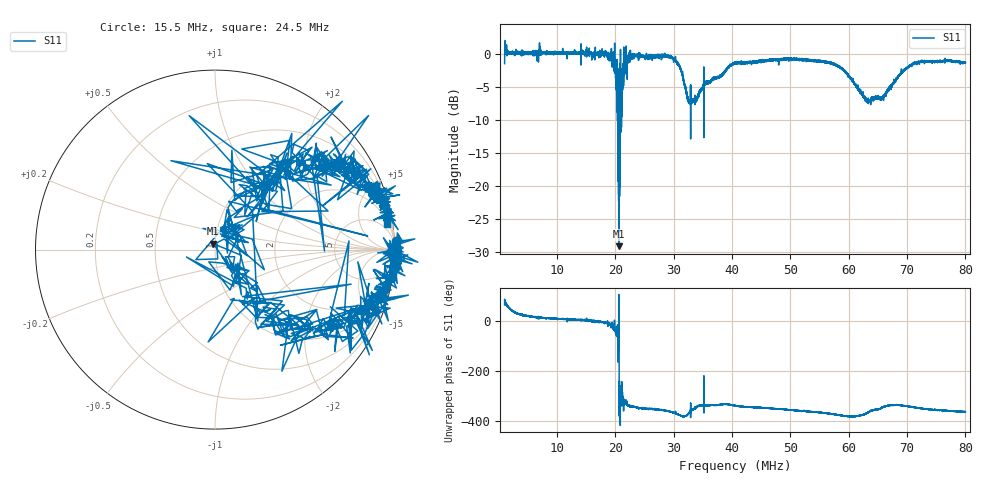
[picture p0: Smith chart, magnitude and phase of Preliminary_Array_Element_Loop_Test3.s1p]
# HZ S RI R 50
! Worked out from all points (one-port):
!   18180 points, 1 MHz to 80.01 MHz, reference 50 ohm
!   lowest |S11| = -29.1 dB at 20.6 MHz (marker M1), VSWR 1.07, Z = 48.9 + j3.28 ohm
!   |S11| at or under -10 dB: 20.43 MHz to 20.43592 MHz (5.922 kHz wide, 0.029 % of centre); 20.4624 MHz to 20.48728 MHz (24.88 kHz wide, 0.122 % of centre); 20.49 MHz to 20.79 MHz (296.4 kHz wide, 1.44 % of centre)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
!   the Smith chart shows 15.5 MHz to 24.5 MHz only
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1000000  0.3649 0.7667
1395486  0.4452 0.9151
2190804  0.7371 0.6929
3351186  0.8901 0.5003
1.087846e7  1.019 0.1451
1.877079e7  0.9682 -0.1889
1.950527e7  0.8612 -0.3052
1.999637e7  0.6197 -0.4755
2.060046e7  -0.00995 0.0335
2.075257e7  0.0951 0.0769
2.111763e7  0.3171 0.3258
2.148704e7  0.509 0.4983
2.211721e7  0.8748 0.3688
2.286473e7  0.9418 0.2606
2.872748e7  0.9767 -0.0103
3.063103e7  0.8437 -0.2106
3.163495e7  0.5946 -0.2592
3.275188e7  0.4373 -0.0428
3.477277e7  0.5148 0.196
4.050514e7  0.7926 0.3086
5.037925e7  0.9225 0.0453
5.66853e7  0.85 -0.1732
6.025771e7  0.6145 -0.2828
6.318691e7  0.4374 -0.0554
6.578582e7  0.4558 0.1167
7.013182e7  0.7549 0.2442
7.321748e7  0.8814 0.1025
8.000593e7  0.8629 -0.06
